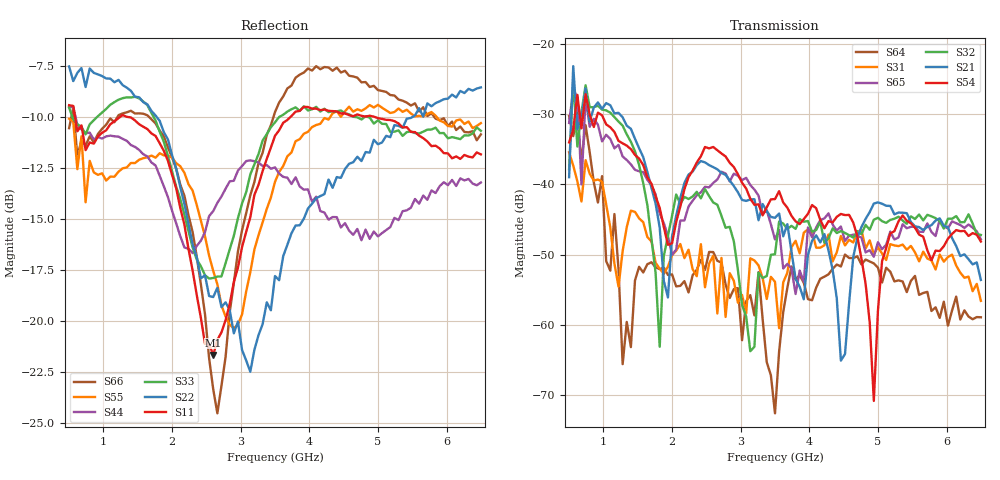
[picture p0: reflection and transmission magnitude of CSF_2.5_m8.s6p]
!Keysight Technologies,M9804A,MY58100912,A.14.10.03
!Date: Thursday, April 27, 2023 10:28:33
!Correction: S11(C  6-Port  )
!S12(C  6-Port  )
!S13(C  6-Port  )
!S14(C  6-Port  )
!S15(C  6-Port  )
!S16(C  6-Port  )
!S21(C  6-Port  )
!S22(C  6-Port  )
!S23(C  6-Port  )
!S24(C  6-Port  )
!S25(C  6-Port  )
!S26(C  6-Port  )
!S31(C  6-Port  )
!S32(C  6-Port  )
!S33(C  6-Port  )
!S34(C  6-Port  )
!S35(C  6-Port  )
!S36(C  6-Port  )
!S41(C  6-Port  )
!S42(C  6-Port  )
!S43(C  6-Port  )
!S44(C  6-Port  )
!S45(C  6-Port  )
!S46(C  6-Port  )
!S51(C  6-Port  )
!S52(C  6-Port  )
!S53(C  6-Port  )
!S54(C  6-Port  )
!S55(C  6-Port  )
!S56(C  6-Port  )
!S61(C  6-Port  )
!S62(C  6-Port  )
!S63(C  6-Port  )
!S64(C  6-Port  )
!S65(C  6-Port  )
!S66(C  6-Port  )
!S6P File: Measurement: :
# Hz S  RI  R 50
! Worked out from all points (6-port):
!   101 points, 500 MHz to 6.5 GHz, reference 50 ohm
!   strongest paths, dB at 500 MHz, 2 GHz, 3.5 GHz, 5 GHz, 6.5 GHz:
!     S54: -34.0, -48.4, -42.1, -58.0, -48.2
!     S21: -39.0, -47.4, -44.8, -42.6, -53.6
!     S32: -37.9, -44.5, -49.9, -44.8, -47.2
!     S65: -31.3, -50.0, -47.8, -48.2, -47.8
!     S31: -35.5, -50.1, -53.9, -48.9, -56.6
!     S64: -30.3, -52.8, -72.6, -51.9, -58.9
!   lowest |S11| = -21.7 dB at 2.6 GHz (marker M1), VSWR 1.18, Z = 42.6 + j2.03 ohm
!   |S11| at or under -10 dB: 587.3 MHz to 1.232 GHz (645.1 MHz wide, 70.9 % of centre); 1.401 GHz to 3.718 GHz (2.316 GHz wide, 90.5 % of centre); 4.973 GHz to end of sweep
